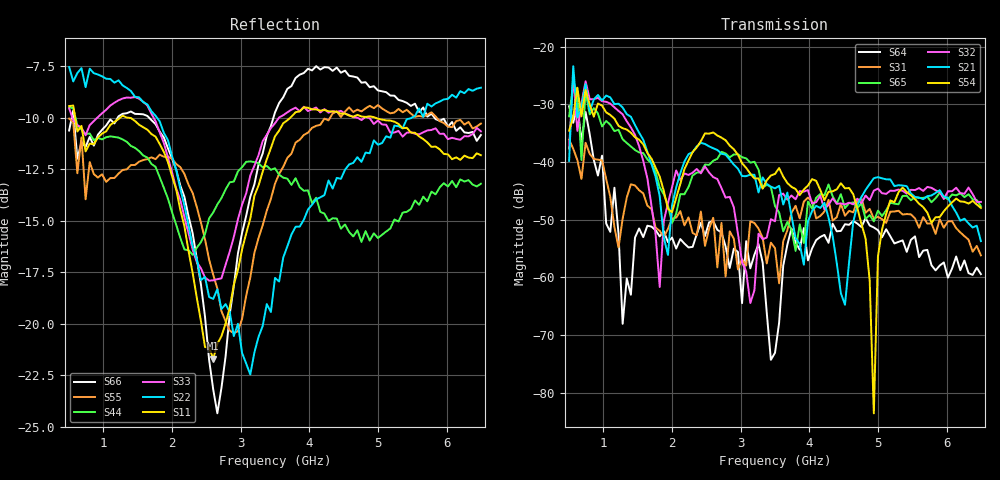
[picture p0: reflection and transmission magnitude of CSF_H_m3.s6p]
!Keysight Technologies,M9804A,MY58100912,A.14.10.03
!Date: Thursday, April 27, 2023 10:28:33
!Correction: S11(C  6-Port  )
!S12(C  6-Port  )
!S13(C  6-Port  )
!S14(C  6-Port  )
!S15(C  6-Port  )
!S16(C  6-Port  )
!S21(C  6-Port  )
!S22(C  6-Port  )
!S23(C  6-Port  )
!S24(C  6-Port  )
!S25(C  6-Port  )
!S26(C  6-Port  )
!S31(C  6-Port  )
!S32(C  6-Port  )
!S33(C  6-Port  )
!S34(C  6-Port  )
!S35(C  6-Port  )
!S36(C  6-Port  )
!S41(C  6-Port  )
!S42(C  6-Port  )
!S43(C  6-Port  )
!S44(C  6-Port  )
!S45(C  6-Port  )
!S46(C  6-Port  )
!S51(C  6-Port  )
!S52(C  6-Port  )
!S53(C  6-Port  )
!S54(C  6-Port  )
!S55(C  6-Port  )
!S56(C  6-Port  )
!S61(C  6-Port  )
!S62(C  6-Port  )
!S63(C  6-Port  )
!S64(C  6-Port  )
!S65(C  6-Port  )
!S66(C  6-Port  )
!S6P File: Measurement: :
# Hz S  RI  R 50
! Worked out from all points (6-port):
!   101 points, 500 MHz to 6.5 GHz, reference 50 ohm
!   strongest paths, dB at 500 MHz, 2 GHz, 3.5 GHz, 5 GHz, 6.5 GHz:
!     S54: -34.5, -48.7, -42.0, -56.4, -47.9
!     S21: -39.8, -47.5, -44.5, -42.6, -53.7
!     S32: -37.7, -44.3, -50.3, -44.6, -46.9
!     S65: -32.0, -50.5, -47.6, -48.4, -47.6
!     S31: -36.1, -49.8, -54.9, -49.5, -56.2
!     S64: -30.3, -53.1, -73.1, -51.8, -59.4
!   lowest |S11| = -21.7 dB at 2.6 GHz (marker M1), VSWR 1.18, Z = 42.6 + j2 ohm
!   |S11| at or under -10 dB: 588.7 MHz to 1.239 GHz (650.7 MHz wide, 71.2 % of centre); 1.393 GHz to 3.718 GHz (2.326 GHz wide, 91 % of centre); 4.971 GHz to end of sweep
